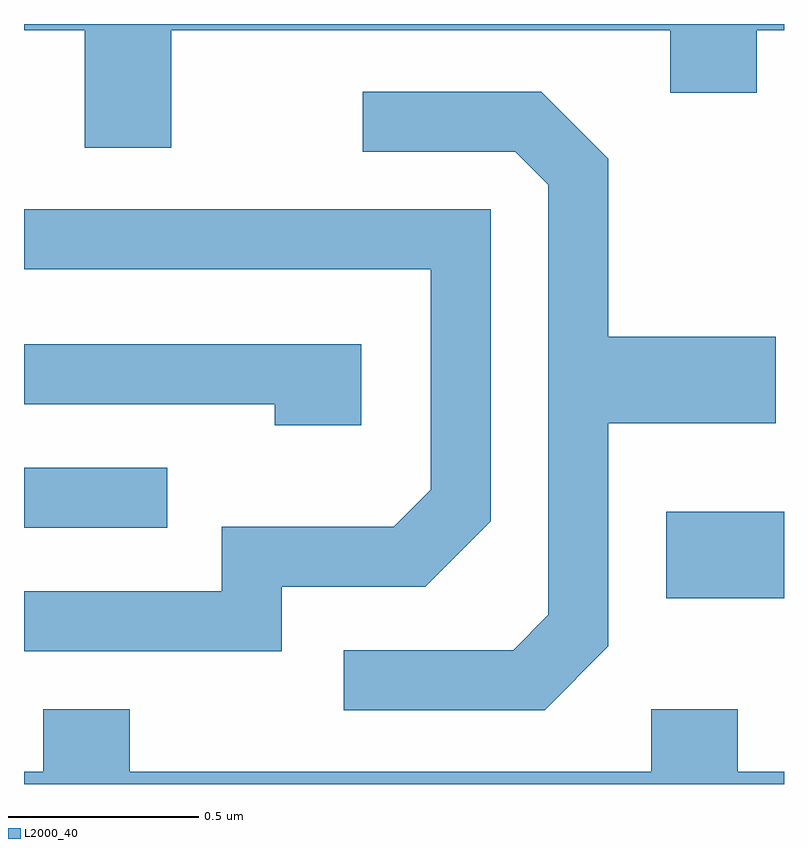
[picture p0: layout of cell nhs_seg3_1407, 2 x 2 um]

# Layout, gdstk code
import gdstk
lib = gdstk.Library(unit=1e-6, precision=1e-09)
def R(c, l, rs):  # rectangles x0, y0, x1, y1
    for r in rs: c.add(gdstk.rectangle(r[:2], r[2:], *l))
def P(c, l, *ps):  # polygons
    for p in ps: c.add(gdstk.Polygon(p, *l))
L2000_40 = (2000, 40)

nhs_seg3_1407 = lib.new_cell('nhs_seg3_1407')
R(nhs_seg3_1407, L2000_40, [(197.301,1153.381,197.611,1153.609), (195.611,1153.566,195.988,1153.724)])
P(nhs_seg3_1407, L2000_40, [(195.999,1154.876),(197.311,1154.876),(197.311,1154.711),(197.539,1154.711),(197.539,1154.876),(197.611,1154.876),(197.611,1154.892),(195.611,1154.892),(195.611,1154.876),(195.771,1154.876),(195.771,1154.566),(195.999,1154.566)],
  [(197.149,1153.254),(197.149,1153.841),(197.589,1153.841),(197.589,1154.069),(197.149,1154.069),(197.149,1154.537),(196.972,1154.714),(196.503,1154.714),(196.503,1154.556),(196.904,1154.556),(196.991,1154.469),(196.991,1153.337),(196.899,1153.244),(196.453,1153.244),(196.453,1153.086),(196.982,1153.086)],
  [(196.289,1153.411),(196.667,1153.411),(196.839,1153.584),(196.839,1154.404),(195.611,1154.404),(195.611,1154.246),(196.681,1154.246),(196.681,1153.667),(196.584,1153.569),(196.131,1153.569),(196.131,1153.399),(195.611,1153.399),(195.611,1153.241),(196.289,1153.241)],
  [(196.499,1154.049),(195.611,1154.049),(195.611,1153.891),(196.271,1153.891),(196.271,1153.836),(196.499,1153.836)],
  [(197.611,1152.924),(197.489,1152.924),(197.489,1153.089),(197.261,1153.089),(197.261,1152.924),(195.889,1152.924),(195.889,1153.089),(195.661,1153.089),(195.661,1152.924),(195.611,1152.924),(195.611,1152.892),(197.611,1152.892)])

lib.write_gds('nhs_seg3_1407.gds')
